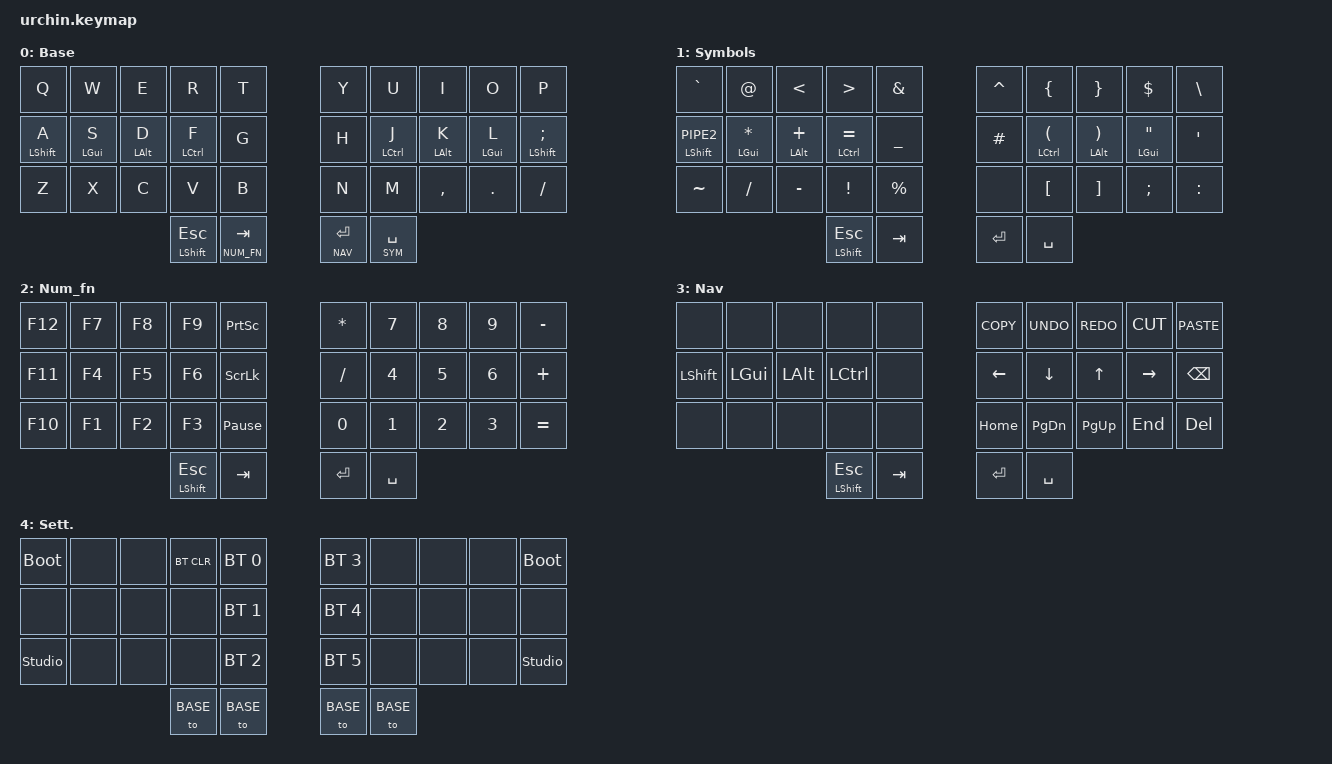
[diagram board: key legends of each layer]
/*
 * Copyright (c) 2020 duckyb
 *
 * SPDX-License-Identifier: MIT
 */

#include <behaviors.dtsi>
#include <dt-bindings/zmk/keys.h>
#include <dt-bindings/zmk/bt.h>
#include <dt-bindings/zmk/outputs.h>

// Layer definitions
#define BASE 0
#define SYM 1
#define NUM_FN 2
#define NAV 3
#define BT 4
// -----------------

/ {
	behaviors {
		hml: home_row_mod_left {
		    compatible = "zmk,behavior-hold-tap";
		    #binding-cells = <2>;
		    flavor = "balanced";
		    require-prior-idle-ms = <100>;
		    tapping-term-ms = <280>;
		    quick-tap-ms = <175>;
		    bindings = <&kp>, <&kp>;
		};
		hmr: home_row_mod_right {
		    compatible = "zmk,behavior-hold-tap";
		    #binding-cells = <2>;
		    flavor = "balanced";
		    require-prior-idle-ms = <100>;
		    tapping-term-ms = <280>;
		    quick-tap-ms = <175>;
		    bindings = <&kp>, <&kp>;
		};
		htt_shift: hold_tap_thumb_shift {
		    compatible = "zmk,behavior-hold-tap";
		    #binding-cells = <2>;
		    flavor = "hold-preferred";
		    tapping-term-ms = <280>;
		    quick-tap-ms = <175>;
		    bindings = <&kp>, <&kp>;
		};
		htt: hold_tap_thumb {
		    compatible = "zmk,behavior-hold-tap";
		    #binding-cells = <2>;
		    flavor = "balanced";
		    tapping-term-ms = <280>;
		    quick-tap-ms = <175>;
		    bindings = <&mo>, <&kp>;
		};
	};

	combos {
		compatible = "zmk,combos";
		combo_bt {
			timeout-ms = <100>;
			key-positions = <30 33>; // Outer thumbs
			bindings = <&to BT>;
		};
		combo_ralt { // Used for the compose key
			timeout-ms = <100>;
			key-positions = <31 32>; // Inner thumbs
			bindings = <&kp RALT>;
		};
	};

	keymap {
		compatible = "zmk,keymap";
		// Base alpha layer
		default_layer {
			label = "Base";
			bindings = <
			&kp Q &kp W &kp E &kp R &kp T					&kp Y &kp U  &kp I &kp O   &kp P 
			&hml LSHIFT A &hml LGUI S &hml LALT D &hml LCTRL F &kp G        &kp H &hmr LCTRL J &hmr LALT K &hmr LGUI L &hmr LSHIFT SEMICOLON
			&kp Z &kp X &kp C &kp V &kp B					&kp N &kp M  &kp COMMA &kp DOT &kp SLASH
				&htt_shift LSHIFT ESC &htt NUM_FN TAB           &htt NAV ENTER &htt SYM SPACE
			>;
		};

		// Numbers and high frequency symbols
		sym_layer {
			label = "Symbols";
			bindings = <
			&kp GRAVE &kp AT &kp LT &kp GT &kp AMPS						&kp CARET &kp LBRC &kp RBRC &kp DOLLAR &kp BSLH
			&hml LSHIFT PIPE2 &hml LGUI STAR &hml LALT PLUS &hml LCTRL EQUAL &kp UNDERSCORE	&kp HASH &hmr LCTRL LPAR &hmr LALT RPAR &hmr LGUI DQT &kp SQT
			&kp TILDE &kp SLASH &kp MINUS &kp EXCL &kp PERCENT				&none &kp LBKT &kp RBKT &kp SEMI &kp COLON
					&htt_shift LSHIFT ESC  &kp TAB       &kp ENTER &kp SPACE
			>;
		};

		// Function keys with modifiers
		num_fn_layer {
			label = "Num_fn";
			bindings = <
			&kp F12 &kp F7 &kp F8 &kp F9 &kp PSCRN			&kp STAR &kp N7 &kp N8 &kp N9 &kp MINUS
			&kp F11 &kp F4 &kp F5 &kp F6 &kp SCROLLLOCK		&kp SLASH &kp N4 &kp N5 &kp N6 &kp PLUS
			&kp F10 &kp F1 &kp F2 &kp F3 &kp PAUSE_BREAK		&kp N0 &kp N1 &kp N2 &kp N3 &kp EQUAL
						&htt_shift LSHIFT ESC &kp TAB	&kp ENTER &kp SPACE  
			>;
		};

		// Main modifiers and arrow keys
		nav_layer {
			label = "Nav";
			bindings = <
			&none &none &none &none &none					&kp K_COPY  &kp K_UNDO &kp K_REDO &kp K_CUT &kp K_PASTE
			&kp LSHIFT &kp LGUI &kp LALT &kp LCTRL &none			&kp LEFT &kp DOWN &kp UP &kp RIGHT &kp BACKSPACE
			&none &none &none &none &none					&kp HOME &kp PG_DN &kp PG_UP &kp END  &kp DEL
							&htt_shift LSHIFT ESC &kp TAB    &kp ENTER  &kp SPACE 
			>;
		};


		// Used to change the keyboard's settings.
		settings_layer {
				label = "Sett.";
				bindings = <
				&bootloader &none &none &bt BT_CLR &bt BT_SEL 0		&bt BT_SEL 3 &none &none &none &bootloader 
				&none &none &none &none &bt BT_SEL 1			&bt BT_SEL 4 &none &none &none &none
				&studio_unlock &none &none &none &bt BT_SEL 2		&bt BT_SEL 5 &none &none &none &studio_unlock
								&to BASE &to BASE	&to BASE &to BASE 
				>;
		};
	};
};
